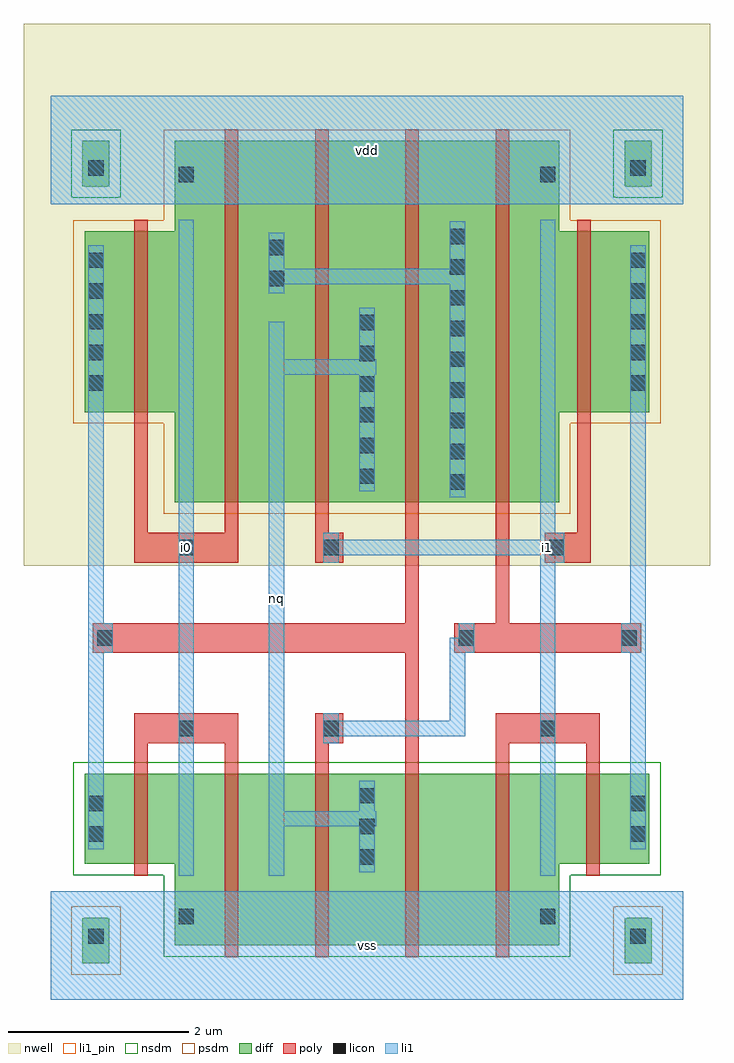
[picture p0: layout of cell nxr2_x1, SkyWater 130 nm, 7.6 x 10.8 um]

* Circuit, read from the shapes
.subckt nxr2_x1 i0 i1 nq vdd vss
XM1 vss i0 n1 VSUBS sky130_fd_pr__nfet_01v8 w=1 l=0.15
XM2 n2 i0 vss VSUBS sky130_fd_pr__nfet_01v8 w=1.9 l=0.15
XM3 nq n3 n2 VSUBS sky130_fd_pr__nfet_01v8 w=1.9 l=0.15
XM4 n4 n1 nq VSUBS sky130_fd_pr__nfet_01v8 w=1.9 l=0.15
XM5 vss i1 n4 VSUBS sky130_fd_pr__nfet_01v8 w=1.9 l=0.15
XM6 n3 i1 vss VSUBS sky130_fd_pr__nfet_01v8 w=1 l=0.15
XM7 vdd i0 n1 n5 sky130_fd_pr__pfet_01v8 w=2 l=0.15
XM8 n6 i0 vdd n5 sky130_fd_pr__pfet_01v8 w=4 l=0.15
XM9 nq i1 n6 n5 sky130_fd_pr__pfet_01v8 w=4 l=0.15
XM10 n6 n1 nq n5 sky130_fd_pr__pfet_01v8 w=4 l=0.15
XM11 vdd n3 n6 n5 sky130_fd_pr__pfet_01v8 w=4 l=0.15
XM12 n3 i1 vdd n5 sky130_fd_pr__pfet_01v8 w=2 l=0.15
.ends

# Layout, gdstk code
import gdstk
lib = gdstk.Library(unit=1e-6, precision=1e-09)
def R(c, l, rs):  # rectangles x0, y0, x1, y1
    for r in rs: c.add(gdstk.rectangle(r[:2], r[2:], *l))
def A(c, l, x, y, w, h, nx, ny, dx, dy):  # array of equal rectangles
    R(c, l, [(x+i*dx, y+j*dy, x+i*dx+w, y+j*dy+h) for i in range(nx) for j in range(ny)])
def P(c, l, *ps):  # polygons
    for p in ps: c.add(gdstk.Polygon(p, *l))
nwell = (64, 20)
diff = (65, 20)
poly = (66, 20)
licon = (66, 44)
li1_pin = (67, 16)
li1 = (67, 20)
nsdm = (93, 44)
psdm = (94, 20)

nxr2_x1 = lib.new_cell('nxr2_x1')
R(nxr2_x1, nwell, [(-0.3,4.8,7.3,10.8)])
P(nxr2_x1, diff, [(0.35,0.4),(0.35,0.9),(0.375,0.9),(0.375,0.905),(0.625,0.905),(0.625,0.9),(0.65,0.9),(0.65,0.4)],
  [(6.35,0.4),(6.35,0.9),(6.375,0.9),(6.375,0.905),(6.625,0.905),(6.625,0.9),(6.65,0.9),(6.65,0.4)],
  [(1.375,0.6),(1.375,1.5),(0.375,1.5),(0.375,2.5),(6.625,2.5),(6.625,1.5),(5.625,1.5),(5.625,0.6)],
  [(0.375,8.995),(0.375,9),(0.35,9),(0.35,9.5),(0.65,9.5),(0.65,9),(0.625,9),(0.625,8.995)],
  [(1.375,5.5),(1.375,6.5),(0.375,6.5),(0.375,8.5),(1.375,8.5),(1.375,9.5),(5.625,9.5),(5.625,8.5),(6.625,8.5),(6.625,6.5),(5.625,6.5),(5.625,5.5)],
  [(6.375,8.995),(6.375,9),(6.35,9),(6.35,9.5),(6.65,9.5),(6.65,9),(6.625,9),(6.625,8.995)])
P(nxr2_x1, poly, [(1.925,0.47),(1.925,2.835),(1.075,2.835),(1.075,1.37),(0.925,1.37),(0.925,3.165),(2.075,3.165),(2.075,0.47)],
  [(2.925,0.47),(2.925,3.165),(3.235,3.165),(3.235,2.835),(3.075,2.835),(3.075,0.47)],
  [(4.925,0.47),(4.925,3.165),(6.075,3.165),(6.075,1.37),(5.925,1.37),(5.925,2.835),(5.075,2.835),(5.075,0.47)],
  [(5.465,4.835),(5.465,5.165),(5.825,5.165),(5.825,8.63),(5.975,8.63),(5.975,4.835)],
  [(0.925,4.835),(0.925,8.63),(1.075,8.63),(1.075,5.165),(1.925,5.165),(1.925,9.63),(2.075,9.63),(2.075,4.835)],
  [(2.925,4.835),(2.925,9.63),(3.075,9.63),(3.075,5.165),(3.235,5.165),(3.235,4.835)],
  [(3.925,0.47),(3.925,3.835),(0.465,3.835),(0.465,4.165),(3.925,4.165),(3.925,9.63),(4.075,9.63),(4.075,0.47)],
  [(4.465,3.835),(4.465,4.165),(4.925,4.165),(4.925,9.63),(5.075,9.63),(5.075,4.165),(6.535,4.165),(6.535,3.835)])
A(nxr2_x1, licon, 3.415, 1.49, 0.17, 0.17, 1, 3, 0, 0.34)
A(nxr2_x1, licon, 4.415, 5.64, 0.17, 0.17, 1, 9, 0, 0.34)
A(nxr2_x1, licon, 3.415, 5.705, 0.17, 0.17, 1, 6, 0, 0.34)
A(nxr2_x1, licon, 0.415, 6.735, 0.17, 0.17, 1, 5, 0, 0.34)
A(nxr2_x1, licon, 6.415, 6.735, 0.17, 0.17, 1, 5, 0, 0.34)
R(nxr2_x1, licon, [(0.415,0.615,0.585,0.785), (6.415,0.615,6.585,0.785), (1.415,0.835,1.585,1.005), (5.415,0.835,5.585,1.005), (0.415,1.745,0.585,1.915), (6.415,1.745,6.585,1.915), (0.415,2.085,0.585,2.255), (6.415,2.085,6.585,2.255), (1.415,2.915,1.585,3.085), (3.015,2.915,3.185,3.085), (5.415,2.915,5.585,3.085), (0.515,3.915,0.685,4.085), (4.515,3.915,4.685,4.085), (6.315,3.915,6.485,4.085), (1.415,4.915,1.585,5.085), (3.015,4.915,3.185,5.085), (5.515,4.915,5.685,5.085), (2.415,7.895,2.585,8.065), (2.415,8.235,2.585,8.405), (1.415,9.045,1.585,9.215), (5.415,9.045,5.585,9.215), (0.415,9.115,0.585,9.285), (6.415,9.115,6.585,9.285)])
R(nxr2_x1, li1_pin, [(0,0,7,1.2), (1.415,1.37,1.585,8.63), (2.415,1.37,2.585,7.5), (5.415,1.37,5.585,8.63), (0,8.8,7,10)])
R(nxr2_x1, li1, [(0,0,7,1.2), (1.415,1.37,1.585,8.63), (0,8.8,7,10)])
P(nxr2_x1, li1, [(3.015,2.835),(3.015,3.165),(3.185,3.165),(3.185,3.085),(4.415,3.085),(4.415,4.005),(4.515,4.005),(4.515,4.165),(4.685,4.165),(4.685,3.835),(4.585,3.835),(4.585,2.915),(3.185,2.915),(3.185,2.835)],
  [(2.415,1.37),(2.415,7.5),(2.585,7.5),(2.585,7.085),(3.415,7.085),(3.415,7.655),(3.585,7.655),(3.585,7.085),(3.6,7.085),(3.6,6.915),(3.585,6.915),(3.585,5.625),(3.415,5.625),(3.415,6.915),(2.585,6.915),(2.585,2.085),(3.415,2.085),(3.415,2.42),(3.585,2.42),(3.585,2.085),(3.6,2.085),(3.6,1.915),(3.585,1.915),(3.585,1.41),(3.415,1.41),(3.415,1.915),(2.585,1.915),(2.585,1.37)],
  [(0.415,1.665),(0.415,8.345),(0.585,8.345),(0.585,4.165),(0.685,4.165),(0.685,3.835),(0.585,3.835),(0.585,1.665)],
  [(6.415,1.665),(6.415,3.835),(6.315,3.835),(6.315,4.165),(6.415,4.165),(6.415,8.345),(6.585,8.345),(6.585,1.665)],
  [(4.415,5.56),(4.415,7.915),(2.585,7.915),(2.585,7.815),(2.415,7.815),(2.415,8.485),(2.585,8.485),(2.585,8.085),(4.415,8.085),(4.415,8.61),(4.585,8.61),(4.585,5.56)],
  [(5.415,1.37),(5.415,4.915),(3.185,4.915),(3.185,4.835),(3.015,4.835),(3.015,5.165),(3.185,5.165),(3.185,5.085),(5.415,5.085),(5.415,8.63),(5.585,8.63),(5.585,5.165),(5.685,5.165),(5.685,4.835),(5.585,4.835),(5.585,1.37)])
P(nxr2_x1, nsdm, [(1.25,0.475),(1.25,1.375),(0.25,1.375),(0.25,2.625),(6.75,2.625),(6.75,1.375),(5.75,1.375),(5.75,0.475)],
  [(0.25,8.87),(0.25,8.875),(0.225,8.875),(0.225,9.625),(0.775,9.625),(0.775,8.875),(0.75,8.875),(0.75,8.87)],
  [(6.25,8.87),(6.25,8.875),(6.225,8.875),(6.225,9.625),(6.775,9.625),(6.775,8.875),(6.75,8.875),(6.75,8.87)])
P(nxr2_x1, psdm, [(0.225,0.275),(0.225,1.025),(0.25,1.025),(0.25,1.03),(0.75,1.03),(0.75,1.025),(0.775,1.025),(0.775,0.275)],
  [(6.225,0.275),(6.225,1.025),(6.25,1.025),(6.25,1.03),(6.75,1.03),(6.75,1.025),(6.775,1.025),(6.775,0.275)],
  [(1.25,5.375),(1.25,6.375),(0.25,6.375),(0.25,8.625),(1.25,8.625),(1.25,9.625),(5.75,9.625),(5.75,8.625),(6.75,8.625),(6.75,6.375),(5.75,6.375),(5.75,5.375)])
nxr2_x1.add(gdstk.Label('nq', (2.5,4.435), layer=67, texttype=16))
nxr2_x1.add(gdstk.Label('vss', (3.5,0.6), layer=67, texttype=16))
nxr2_x1.add(gdstk.Label('vdd', (3.5,9.4), layer=67, texttype=16))
nxr2_x1.add(gdstk.Label('i0', (1.5,5), layer=67, texttype=16))
nxr2_x1.add(gdstk.Label('i1', (5.5,5), layer=67, texttype=16))
nxr2_x1.add(gdstk.Label('nq', (2.5,4.435), layer=67, texttype=16))
nxr2_x1.add(gdstk.Label('vss', (3.5,0.6), layer=67, texttype=16))
nxr2_x1.add(gdstk.Label('vdd', (3.5,9.4), layer=67, texttype=16))
nxr2_x1.add(gdstk.Label('i0', (1.5,5), layer=67, texttype=16))
nxr2_x1.add(gdstk.Label('i1', (5.5,5), layer=67, texttype=16))

lib.write_gds('nxr2_x1.gds')
